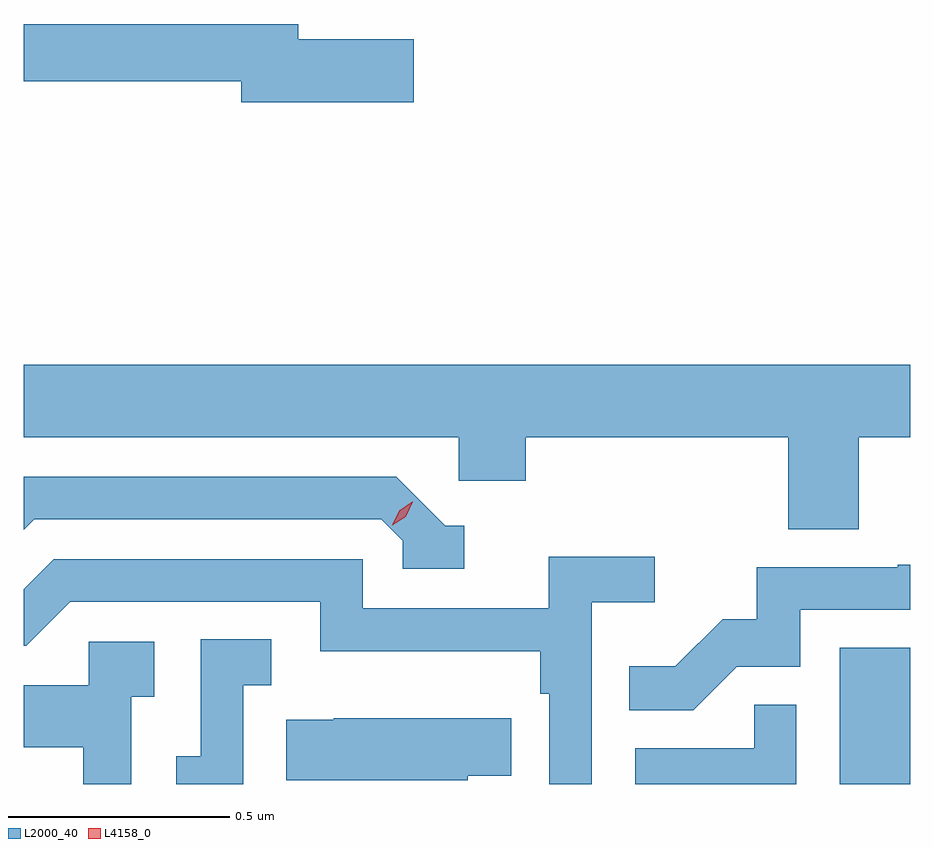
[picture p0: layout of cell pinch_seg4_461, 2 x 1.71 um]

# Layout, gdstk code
import gdstk
lib = gdstk.Library(unit=1e-6, precision=1e-09)
def R(c, l, rs):  # rectangles x0, y0, x1, y1
    for r in rs: c.add(gdstk.rectangle(r[:2], r[2:], *l))
def P(c, l, *ps):  # polygons
    for p in ps: c.add(gdstk.Polygon(p, *l))
L2000_40 = (2000, 40)
L4158_0 = (4158, 0)

pinch_seg4_461 = lib.new_cell('pinch_seg4_461')
R(pinch_seg4_461, L2000_40, [(915.278,782.718,915.437,783.025)])
P(pinch_seg4_461, L2000_40, [(914.317,784.398),(914.056,784.398),(914.056,784.432),(913.437,784.432),(913.437,784.303),(913.928,784.303),(913.928,784.256),(914.317,784.256)],
  [(915.321,783.5),(915.437,783.5),(915.437,783.664),(913.437,783.664),(913.437,783.5),(914.418,783.5),(914.418,783.402),(914.57,783.402),(914.57,783.5),(915.161,783.5),(915.161,783.292),(915.321,783.292)],
  [(914.431,783.3),(914.388,783.3),(914.277,783.411),(913.437,783.411),(913.437,783.291),(913.461,783.315),(914.244,783.315),(914.292,783.267),(914.292,783.204),(914.431,783.204)],
  [(914.718,783.128),(914.86,783.128),(914.86,783.23),(914.621,783.23),(914.621,783.114),(914.202,783.114),(914.202,783.225),(913.505,783.225),(913.437,783.157),(913.437,783.03),(913.443,783.03),(913.542,783.129),(914.106,783.129),(914.106,783.017),(914.602,783.017),(914.602,782.921),(914.622,782.921),(914.622,782.718),(914.718,782.718)],
  [(915.045,782.982),(915.189,782.982),(915.189,783.111),(915.437,783.111),(915.437,783.212),(915.409,783.212),(915.409,783.207),(915.091,783.207),(915.091,783.09),(915.014,783.09),(914.907,782.983),(914.803,782.983),(914.803,782.884),(914.947,782.884)],
  [(913.932,782.941),(913.996,782.941),(913.996,783.044),(913.836,783.044),(913.836,782.781),(913.781,782.781),(913.781,782.718),(913.932,782.718)],
  [(913.68,782.915),(913.732,782.915),(913.732,783.039),(913.584,783.039),(913.584,782.941),(913.437,782.941),(913.437,782.801),(913.572,782.801),(913.572,782.718),(913.68,782.718)],
  [(915.18,782.897),(915.085,782.897),(915.085,782.799),(914.816,782.799),(914.816,782.718),(915.18,782.718)],
  [(914.439,782.737),(914.537,782.737),(914.537,782.866),(914.137,782.866),(914.137,782.863),(914.029,782.863),(914.029,782.726),(914.439,782.726)])
P(pinch_seg4_461, L4158_0, [(914.268,783.301),(914.268,783.302),(914.284,783.334),(914.314,783.354),(914.315,783.354),(914.315,783.354),(914.299,783.321),(914.268,783.301)])

lib.write_gds('pinch_seg4_461.gds')
